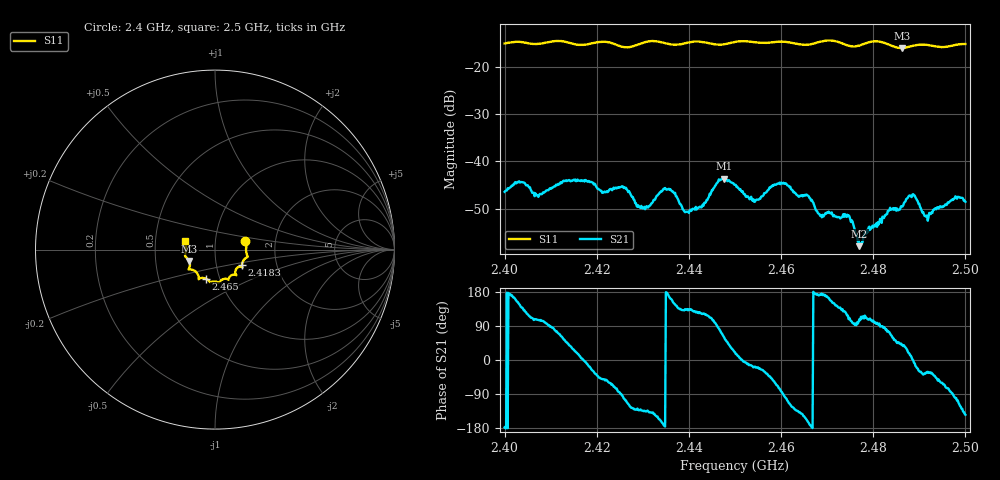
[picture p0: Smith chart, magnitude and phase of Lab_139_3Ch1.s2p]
# Hz S RI R 50
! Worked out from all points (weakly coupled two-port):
!   601 points, 2.4 GHz to 2.5 GHz, reference 50 ohm
!   highest |S21| = -43.63 dB at 2.4477 GHz (marker M1); lowest = -57.9 dB at 2.477 GHz (marker M2)
!   lowest |S11| = -16.1 dB at 2.4862 GHz (marker M3), VSWR 1.37, Z = 37.2 - j4.83 ohm
!   |S11| at or under -10 dB: start of sweep to end of sweep
!   S12 and S22 are empty: the file has one direction only
!   S11 on the Smith chart (normalised r, x): 2.4 GHz: 1.40, +0.14; 2.4183 GHz: 1.33, -0.24; 2.465 GHz: 0.86, -0.28; 2.5 GHz: 0.71, +0.07
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2.4e9  0.1688 0.0471  -0.00478 -0.000191  0 0  0 0
2.416667e9  0.1546 -0.0681  0.00633 0.000483  0 0  0 0
2.418333e9  0.1501 -0.0868  0.00591 -0.00184  0 0  0 0
2.426e9  0.1254 -0.1001  -0.00119 -0.0052  0 0  0 0
2.43e9  0.114 -0.1369  -0.00222 -0.00231  0 0  0 0
2.433333e9  0.1175 -0.1409  -0.00401 -0.002  0 0  0 0
2.436e9  0.1001 -0.1397  -0.00483 0.00159  0 0  0 0
2.439667e9  0.0767 -0.1609  -0.00206 0.00211  0 0  0 0
2.447667e9  0.0388 -0.1675  0.00335 0.00566  0 0  0 0
2.45e9  0.0262 -0.1803  0.00531 0.00197  0 0  0 0
2.454167e9  0.0135 -0.1805  0.00355 -0.00117  0 0  0 0
2.46e9  -0.0267 -0.1814  0.000776 -0.00592  0 0  0 0
2.465e9  -0.0525 -0.1614  -0.00373 -0.00226  0 0  0 0
2.466667e9  -0.0713 -0.1577  -0.00392 -0.000145  0 0  0 0
2.468667e9  -0.0876 -0.1618  -0.00269 0.000329  0 0  0 0
2.474333e9  -0.0961 -0.1378  -0.00127 0.00243  0 0  0 0
2.477e9  -0.1216 -0.1139  -0.000386 0.00122  0 0  0 0
2.483333e9  -0.1412 -0.0964  0.000808 0.00289  0 0  0 0
2.486167e9  -0.1436 -0.0633  0.0026 0.00214  0 0  0 0
2.488667e9  -0.1604 -0.0426  0.00451 -4.89e-05  0 0  0 0
2.4915e9  -0.1668 -0.0317  0.00215 -0.00148  0 0  0 0
2.5e9  -0.1665 0.0469  -0.00306 -0.00218  0 0  0 0
